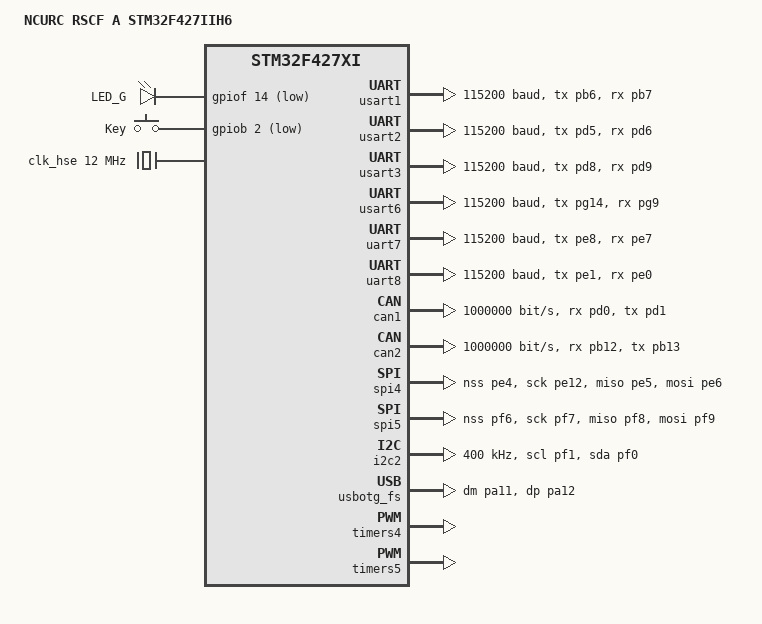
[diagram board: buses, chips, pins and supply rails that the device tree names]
/dts-v1/;

#include <st/f4/stm32f427Xi.dtsi>
#include <st/f4/stm32f427i(g-i)hx-pinctrl.dtsi>
#include "rscf_a_f427iih6-pinctrl.dtsi"
#include <zephyr/dt-bindings/gpio/gpio.h>
#include <zephyr/dt-bindings/input/input-event-codes.h>

/ {
  model = "NCURC RSCF A STM32F427IIH6";
  compatible = "ncurc,rscf-a-f427iih6";

  chosen {
    zephyr,console = &usart1;
    zephyr,shell-uart = &usart1;
    zephyr,sram = &sram0;
    zephyr,flash = &flash0;
  };

  aliases {
    led0 = &status_led;
    sw0 = &user_button;
  };

  leds {
    compatible = "gpio-leds";

    status_led: led_g {
      gpios = <&gpiof 14 GPIO_ACTIVE_LOW>;
      label = "LED_G";
    };
  };

  buttons {
    compatible = "gpio-keys";

    user_button: user_button {
      gpios = <&gpiob 2 (GPIO_PULL_UP | GPIO_ACTIVE_LOW)>;
      label = "Key";
      zephyr,code = <INPUT_KEY_0>;
    };
  };

  rscf_board: rscf_board {
    compatible = "ncurc,rscf-a-board";
    console-uart = <&usart1>;
    imu-uart = <&usart6>;
    ext-mux-uart = <&uart8>;
    can-primary = <&can1>;
    can-secondary = <&can2>;
    usb-device = <&usbotg_fs>;
    status-led = <&status_led>;
  };
};

&clk_hse {
  clock-frequency = <12000000>;
  status = "okay";
};

&pll {
  clocks = <&clk_hse>;
  div-m = <6>;
  mul-n = <168>;
  div-p = <2>;
  div-q = <7>;
  status = "okay";
};

&rcc {
  clocks = <&pll>;
  clock-frequency = <168000000>;
  ahb-prescaler = <1>;
  apb1-prescaler = <4>;
  apb2-prescaler = <2>;
};

&usart1 {
  pinctrl-0 = <&usart1_tx_pb6 &usart1_rx_pb7>;
  pinctrl-names = "default";
  current-speed = <115200>;
  status = "okay";
};

&usart2 {
  pinctrl-0 = <&usart2_tx_pd5 &usart2_rx_pd6>;
  pinctrl-names = "default";
  current-speed = <115200>;
  status = "okay";
};

&usart3 {
  pinctrl-0 = <&usart3_tx_pd8 &usart3_rx_pd9>;
  pinctrl-names = "default";
  current-speed = <115200>;
  status = "okay";
};

&usart6 {
  pinctrl-0 = <&usart6_tx_pg14 &usart6_rx_pg9>;
  pinctrl-names = "default";
  current-speed = <115200>;
  status = "okay";
};

&uart7 {
  pinctrl-0 = <&uart7_tx_pe8 &uart7_rx_pe7>;
  pinctrl-names = "default";
  current-speed = <115200>;
  status = "okay";
};

&uart8 {
  pinctrl-0 = <&uart8_tx_pe1 &uart8_rx_pe0>;
  pinctrl-names = "default";
  current-speed = <115200>;
  status = "okay";
};

&can1 {
  pinctrl-0 = <&can1_rx_pd0 &can1_tx_pd1>;
  pinctrl-names = "default";
  bitrate = <1000000>;
  status = "okay";
};

&can2 {
  pinctrl-0 = <&can2_rx_pb12 &can2_tx_pb13>;
  pinctrl-names = "default";
  bitrate = <1000000>;
  status = "okay";
};

&spi4 {
  pinctrl-0 = <&rscf_spi4_nss_pe4 &spi4_sck_pe12
               &rscf_spi4_miso_pe5 &rscf_spi4_mosi_pe6>;
  pinctrl-names = "default";
  status = "okay";
};

&spi5 {
  pinctrl-0 = <&spi5_nss_pf6 &spi5_sck_pf7
               &spi5_miso_pf8 &spi5_mosi_pf9>;
  pinctrl-names = "default";
  status = "okay";
};

&i2c2 {
  pinctrl-0 = <&i2c2_scl_pf1 &i2c2_sda_pf0>;
  pinctrl-names = "default";
  clock-frequency = <I2C_BITRATE_FAST>;
  status = "okay";
};

&usbotg_fs {
  pinctrl-0 = <&usb_otg_fs_dm_pa11 &usb_otg_fs_dp_pa12>;
  pinctrl-names = "default";
  status = "okay";
};

&timers4 {
  status = "okay";

  pwm4: pwm {
    status = "okay";
    pinctrl-0 = <&tim4_ch1_pd12 &tim4_ch2_pd13
                 &tim4_ch3_pd14 &tim4_ch4_pd15>;
    pinctrl-names = "default";
  };
};

&timers5 {
  status = "okay";

  pwm5: pwm {
    status = "okay";
    pinctrl-0 = <&tim5_ch1_pa0 &tim5_ch2_pa1
                 &tim5_ch3_pa2 &tim5_ch4_pa3>;
    pinctrl-names = "default";
  };
};
